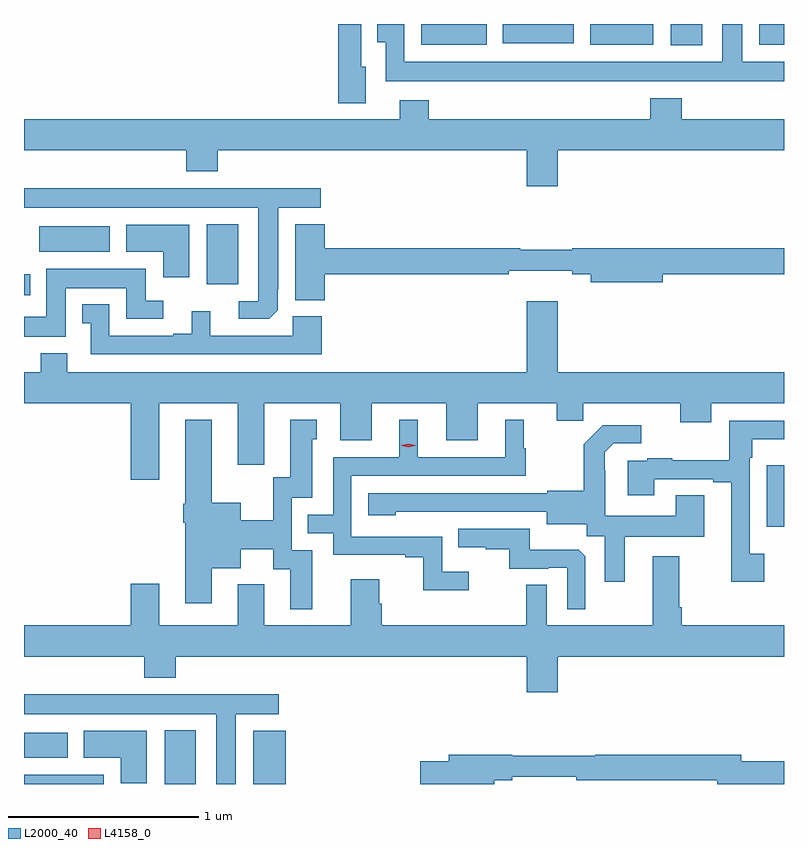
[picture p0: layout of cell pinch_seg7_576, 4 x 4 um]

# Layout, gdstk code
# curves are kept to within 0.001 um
import gdstk
lib = gdstk.Library(unit=1e-6, precision=1e-09)
def R(c, l, rs):  # rectangles x0, y0, x1, y1
    for r in rs: c.add(gdstk.rectangle(r[:2], r[2:], *l))
def P(c, l, *ps):  # polygons
    for p in ps: c.add(gdstk.Polygon(p, *l))
L2000_40 = (2000, 40)
L4158_0 = (4158, 0)

pinch_seg7_576 = lib.new_cell('pinch_seg7_576')
R(pinch_seg7_576, L2000_40, [(210.314,1047.897,210.733,1047.946), (211.055,1047.897,211.219,1048.18), (211.52,1047.897,211.691,1048.177), (210.314,1048.034,210.544,1048.168), (214.224,1049.25,214.314,1049.575), (210.314,1050.47,210.346,1050.58), (211.277,1050.528,211.441,1050.844), (210.393,1050.698,210.766,1050.832), (213.719,1051.784,213.883,1051.897), (212.405,1051.787,212.749,1051.897), (213.293,1051.787,213.625,1051.897), (214.184,1051.787,214.314,1051.897), (212.835,1051.796,213.208,1051.897)])
P(pinch_seg7_576, L2000_40, [(212.113,1051.671),(212.089,1051.671),(212.089,1051.897),(211.967,1051.897),(211.967,1051.481),(212.113,1051.481)],
  [(214.314,1051.699),(214.093,1051.699),(214.093,1051.897),(213.989,1051.897),(213.989,1051.699),(212.316,1051.699),(212.316,1051.897),(212.174,1051.897),(212.174,1051.801),(212.219,1051.801),(212.219,1051.595),(214.314,1051.595)],
  [(213.124,1051.232),(214.314,1051.232),(214.314,1051.396),(213.776,1051.396),(213.776,1051.507),(213.611,1051.507),(213.611,1051.396),(212.444,1051.396),(212.444,1051.495),(212.291,1051.495),(212.291,1051.396),(210.314,1051.396),(210.314,1051.232),(211.169,1051.232),(211.169,1051.121),(211.334,1051.121),(211.334,1051.232),(212.96,1051.232),(212.96,1051.044),(213.124,1051.044)],
  [(211.65,1050.391),(211.651,1050.929),(211.876,1050.929),(211.876,1051.033),(210.314,1051.033),(210.314,1050.929),(211.547,1050.929),(211.547,1050.438),(211.443,1050.438),(211.443,1050.345),(211.604,1050.345)],
  [(211.898,1050.58),(212.864,1050.58),(212.864,1050.599),(213.2,1050.599),(213.2,1050.58),(213.296,1050.58),(213.296,1050.538),(213.676,1050.538),(213.676,1050.58),(214.314,1050.58),(214.314,1050.716),(213.2,1050.716),(213.2,1050.709),(212.927,1050.709),(212.927,1050.716),(211.898,1050.716),(211.898,1050.844),(211.742,1050.844),(211.742,1050.443),(211.898,1050.443)],
  [(211.183,1050.841),(210.851,1050.841),(210.851,1050.698),(211.046,1050.698),(211.046,1050.564),(211.183,1050.564)],
  [(210.535,1050.506),(210.851,1050.506),(210.851,1050.345),(211.048,1050.345),(211.048,1050.441),(210.955,1050.441),(210.955,1050.61),(210.431,1050.61),(210.431,1050.355),(210.314,1050.355),(210.314,1050.251),(210.535,1050.251)],
  [(211.027,1049.9),(211.439,1049.9),(211.439,1049.577),(211.579,1049.577),(211.579,1049.9),(211.979,1049.9),(211.979,1049.706),(212.143,1049.706),(212.143,1049.9),(212.537,1049.9),(212.537,1049.706),(212.701,1049.706),(212.701,1049.9),(213.119,1049.9),(213.119,1049.81),(213.257,1049.81),(213.257,1049.9),(213.767,1049.9),(213.767,1049.801),(213.931,1049.801),(213.931,1049.9),(214.314,1049.9),(214.314,1050.064),(213.124,1050.064),(213.124,1050.439),(212.96,1050.439),(212.96,1050.064),(210.541,1050.064),(210.541,1050.163),(210.401,1050.163),(210.401,1050.064),(210.314,1050.064),(210.314,1049.9),(210.875,1049.9),(210.875,1049.499),(211.027,1049.499)],
  [(211.88,1050.358),(211.728,1050.358),(211.728,1050.255),(211.294,1050.255),(211.294,1050.385),(211.196,1050.385),(211.196,1050.268),(211.1,1050.268),(211.1,1050.255),(210.762,1050.255),(210.762,1050.421),(210.62,1050.421),(210.62,1050.321),(210.666,1050.321),(210.666,1050.159),(211.88,1050.159)],
  [(212.656,1049.014),(212.514,1049.014),(212.514,1049.199),(212.037,1049.199),(212.037,1049.52),(212.956,1049.52),(212.956,1049.664),(212.944,1049.664),(212.944,1049.815),(212.846,1049.815),(212.846,1049.616),(212.386,1049.616),(212.386,1049.815),(212.288,1049.815),(212.288,1049.616),(211.941,1049.616),(211.941,1049.313),(211.807,1049.313),(211.807,1049.217),(211.941,1049.217),(211.941,1049.103),(212.321,1049.103),(212.321,1049.091),(212.416,1049.091),(212.416,1048.916),(212.656,1048.916)],
  [(211.831,1049.127),(211.722,1049.127),(211.722,1049.403),(211.831,1049.403),(211.831,1049.712),(211.855,1049.712),(211.855,1049.815),(211.715,1049.815),(211.715,1049.511),(211.626,1049.511),(211.626,1049.284),(211.456,1049.284),(211.456,1049.377),(211.303,1049.377),(211.303,1049.815),(211.163,1049.815),(211.163,1049.373),(211.151,1049.373),(211.151,1049.273),(211.163,1049.273),(211.163,1048.848),(211.303,1048.848),(211.303,1049.033),(211.456,1049.033),(211.456,1049.132),(211.625,1049.132),(211.625,1049.026),(211.715,1049.026),(211.715,1048.818),(211.831,1048.818)],
  [(214.21,1049.11),(214.134,1049.11),(214.134,1049.615),(214.147,1049.615),(214.147,1049.711),(214.314,1049.711),(214.314,1049.808),(214.026,1049.808),(214.026,1049.6),(213.727,1049.6),(213.727,1049.611),(213.595,1049.611),(213.595,1049.598),(213.491,1049.598),(213.491,1049.418),(213.631,1049.418),(213.631,1049.502),(213.941,1049.502),(213.941,1049.484),(214.037,1049.484),(214.037,1048.962),(214.21,1048.962)],
  [(213.475,1049.198),(213.895,1049.198),(213.895,1049.417),(213.743,1049.417),(213.743,1049.308),(213.372,1049.308),(213.372,1049.549),(213.37,1049.549),(213.37,1049.644),(213.417,1049.691),(213.562,1049.691),(213.562,1049.785),(213.361,1049.785),(213.261,1049.685),(213.261,1049.44),(213.069,1049.44),(213.069,1049.427),(212.127,1049.427),(212.127,1049.312),(212.271,1049.312),(212.271,1049.33),(213.065,1049.331),(213.065,1049.264),(213.276,1049.264),(213.276,1049.2),(213.371,1049.2),(213.371,1048.962),(213.475,1048.962)],
  [(213.267,1049.097),(213.235,1049.129),(212.977,1049.129),(212.977,1049.241),(212.599,1049.241),(212.599,1049.144),(212.743,1049.144),(212.743,1049.133),(212.867,1049.133),(212.867,1049.031),(213.074,1049.031),(213.074,1049.034),(213.174,1049.034),(213.174,1048.817),(213.267,1048.817)],
  [(213.124,1048.568),(214.314,1048.568),(214.314,1048.732),(213.776,1048.732),(213.776,1048.828),(213.763,1048.828),(213.763,1049.095),(213.623,1049.095),(213.623,1048.732),(213.066,1048.732),(213.066,1048.946),(212.958,1048.946),(212.958,1048.732),(212.198,1048.732),(212.198,1048.845),(212.185,1048.845),(212.185,1048.975),(212.033,1048.975),(212.033,1048.732),(211.579,1048.732),(211.579,1048.948),(211.439,1048.948),(211.439,1048.732),(211.027,1048.732),(211.027,1048.951),(210.875,1048.951),(210.875,1048.732),(210.314,1048.732),(210.314,1048.568),(210.947,1048.568),(210.947,1048.457),(211.112,1048.457),(211.112,1048.568),(212.96,1048.568),(212.96,1048.38),(213.124,1048.38)],
  [(211.429,1048.265),(211.654,1048.265),(211.654,1048.369),(210.314,1048.369),(210.314,1048.265),(211.325,1048.265),(211.325,1047.897),(211.429,1047.897)],
  [(210.961,1048.177),(210.629,1048.177),(210.629,1048.034),(210.824,1048.034),(210.824,1047.9),(210.961,1047.9)],
  [(212.788,1047.916),(212.884,1047.916),(212.884,1047.935),(213.22,1047.935),(213.22,1047.916),(213.962,1047.916),(213.962,1047.897),(214.314,1047.897),(214.314,1048.016),(214.09,1048.016),(214.09,1048.052),(213.32,1048.052),(213.32,1048.045),(212.884,1048.045),(212.884,1048.052),(212.549,1048.052),(212.549,1048.016),(212.4,1048.016),(212.4,1047.897),(212.788,1047.897)])
P(pinch_seg7_576, L4158_0, [(212.337,1049.669),(212.301,1049.678),(212.301,1049.679),(212.301,1049.679),(212.337,1049.689),(212.372,1049.679),(212.373,1049.679),(212.372,1049.678)])

lib.write_gds('pinch_seg7_576.gds')
